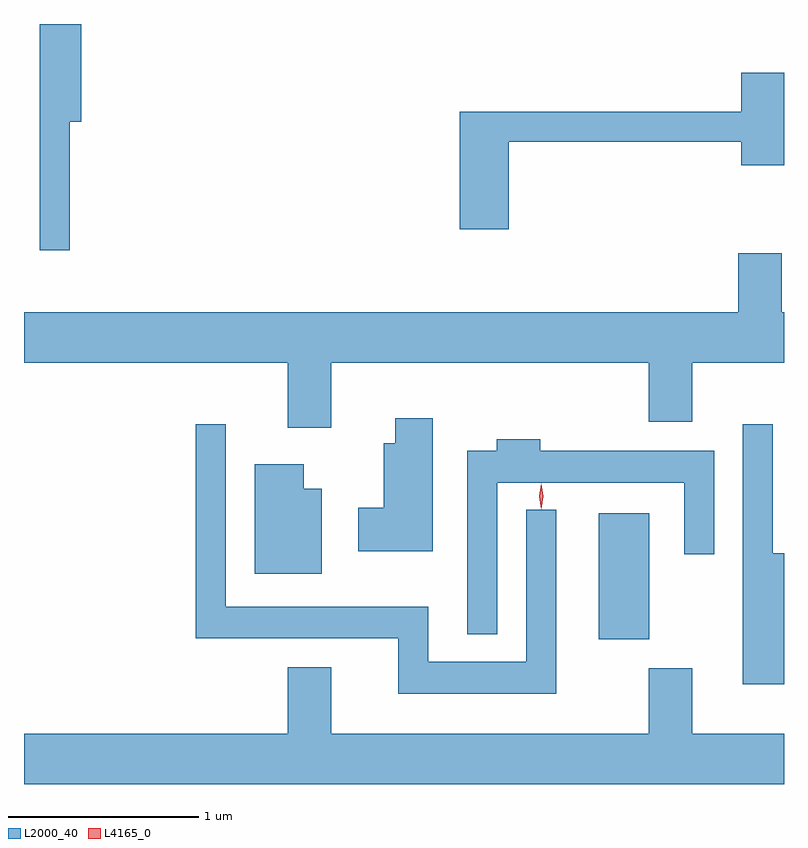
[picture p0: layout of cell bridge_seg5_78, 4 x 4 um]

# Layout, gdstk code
import gdstk
lib = gdstk.Library(unit=1e-6, precision=1e-09)
def R(c, l, rs):  # rectangles x0, y0, x1, y1
    for r in rs: c.add(gdstk.rectangle(r[:2], r[2:], *l))
def P(c, l, *ps):  # polygons
    for p in ps: c.add(gdstk.Polygon(p, *l))
L2000_40 = (2000, 40)
L4165_0 = (4165, 0)

bridge_seg5_78 = lib.new_cell('bridge_seg5_78')
R(bridge_seg5_78, L2000_40, [(1204.636,1497.521,1204.904,1498.184)])
P(bridge_seg5_78, L2000_40, [(1201.854,1500.246),(1201.914,1500.246),(1201.914,1500.76),(1201.696,1500.76),(1201.696,1499.568),(1201.854,1499.568)],
  [(1204.164,1500.141),(1205.386,1500.141),(1205.386,1500.016),(1205.612,1500.016),(1205.612,1500.504),(1205.386,1500.504),(1205.386,1500.299),(1203.906,1500.299),(1203.906,1499.681),(1204.164,1499.681)],
  [(1203.229,1498.976),(1204.901,1498.976),(1204.901,1498.666),(1205.129,1498.666),(1205.129,1498.976),(1205.612,1498.976),(1205.612,1499.244),(1205.599,1499.244),(1205.599,1499.554),(1205.371,1499.554),(1205.371,1499.244),(1201.612,1499.244),(1201.612,1498.976),(1203.001,1498.976),(1203.001,1498.636),(1203.229,1498.636)],
  [(1203.764,1498.684),(1203.566,1498.684),(1203.566,1498.554),(1203.506,1498.554),(1203.506,1498.214),(1203.371,1498.214),(1203.371,1497.986),(1203.764,1497.986)],
  [(1205.612,1497.974),(1205.554,1497.974),(1205.554,1498.653),(1205.396,1498.653),(1205.396,1497.286),(1205.612,1497.286)],
  [(1204.414,1498.203),(1204.256,1498.203),(1204.256,1497.404),(1203.739,1497.404),(1203.739,1497.694),(1202.674,1497.694),(1202.674,1498.653),(1202.516,1498.653),(1202.516,1497.526),(1203.581,1497.526),(1203.581,1497.236),(1204.414,1497.236)],
  [(1204.104,1498.346),(1205.086,1498.346),(1205.086,1497.968),(1205.244,1497.968),(1205.244,1498.514),(1204.329,1498.514),(1204.329,1498.574),(1204.101,1498.574),(1204.101,1498.514),(1203.946,1498.514),(1203.946,1497.548),(1204.104,1497.548)],
  [(1203.179,1498.314),(1203.084,1498.314),(1203.084,1498.444),(1202.826,1498.444),(1202.826,1497.866),(1203.179,1497.866)],
  [(1205.612,1497.024),(1205.129,1497.024),(1205.129,1497.369),(1204.901,1497.369),(1204.901,1497.024),(1203.229,1497.024),(1203.229,1497.374),(1203.001,1497.374),(1203.001,1497.024),(1201.612,1497.024),(1201.612,1496.76),(1205.612,1496.76)])
P(bridge_seg5_78, L4165_0, [(1204.334,1498.207),(1204.334,1498.207),(1204.324,1498.274),(1204.334,1498.34),(1204.334,1498.341),(1204.335,1498.34),(1204.344,1498.274),(1204.335,1498.207)])

lib.write_gds('bridge_seg5_78.gds')
